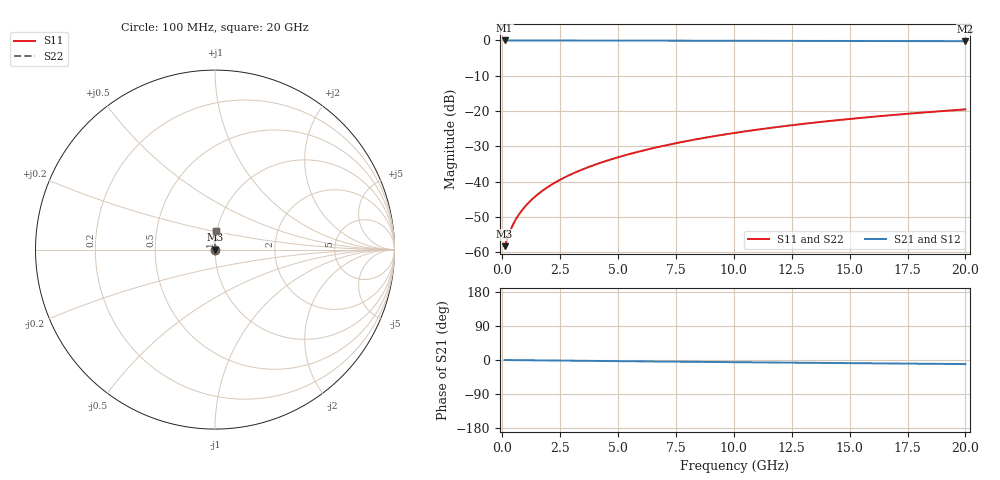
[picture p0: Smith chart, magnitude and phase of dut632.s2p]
! Touchstone file exported from HFSS 2024.1.0
!  File:  C:/UserFiles/LocalFiles/RDL_TSV_Batchsim/temp_RDL_bottom_632_1779784537.aedt
!  Generated:  04:38:11 PM May 26, 2026
!  Design:  RDL_bottom
!  Project:  temp_RDL_bottom_632_1779784537
!  Setup:  Setup1
!  Solution:  Sweep
! Variables:
!  dtsv = 10.80580581um
!  hbump = 3um
!  htsv = 97.88um
!  ldown = 137.94um
!  lrdl = 100um
!  p = 40
!  p1 = 43.68um
!  rhole = 1um
!  t = 450um
!  tdown = 2.5um
!  trdl = 3.915915916um
!  wdown = 26.37um
!  wrdl = 20um
# GHz S MA R 50.000000
! Terminal data exported
! Port[1] = RDL1_T1
! Port[2] = RDL1_T2
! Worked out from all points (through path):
!   200 points, 100 MHz to 20 GHz, reference 50 ohm
!   highest |S21| = -0.01 dB at 100 MHz (marker M1); lowest = -0.2 dB at 20 GHz (marker M2)
!   group delay of S21, straight-line fit = 1.48 ps
!   lowest |S11| = -58.3 dB at 100 MHz (marker M3), VSWR 1.00, Z = 50.1 + j0.049 ohm
!   |S11| at or under -10 dB: start of sweep to end of sweep
!   |S22| runs from -58.3 to -19.5 dB; largest |S21 - S12| = 2.3e-15
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0.1  0.001215 23.7  0.9989 -0.1  0.9989 -0.1  0.001215 23.7
! Gamma 0 0 0 0
! Port Impedance 50 0 50 0
0.3  0.00185 49.8  0.9988 -0.2  0.9988 -0.2  0.00185 49.8
0.4  0.00222 56.1  0.9987 -0.3  0.9987 -0.3  0.00222 56.1
0.6  0.002969 64.1  0.9986 -0.4  0.9986 -0.4  0.002969 64.1
0.7  0.003344 66.9  0.9985 -0.4  0.9985 -0.4  0.003344 66.9
0.9  0.004104 71.3  0.9984 -0.6  0.9984 -0.6  0.004104 71.3
1.2  0.005268 75.8  0.9983 -0.8  0.9983 -0.8  0.005268 75.8
1.4  0.006061 78.1  0.9982 -0.9  0.9982 -0.9  0.006061 78.1
1.7  0.007273 80.7  0.998 -1.1  0.998 -1.1  0.007273 80.7
2.2  0.009347 83.9  0.9976 -1.4  0.9976 -1.4  0.009347 83.9
2.8  0.01192 86.4  0.9971 -1.7  0.9971 -1.7  0.01192 86.4
3.5  0.01503 88.5  0.9964 -2.1  0.9964 -2.1  0.01503 88.5
4.2  0.01827 90.0  0.9956 -2.6  0.9956 -2.6  0.01827 90.0
5  0.02211 91.1  0.9945 -3.0  0.9945 -3.0  0.02211 91.1
5.9  0.0266 91.9  0.9933 -3.5  0.9933 -3.5  0.0266 91.9
6.8  0.03125 92.3  0.992 -4.0  0.992 -4.0  0.03125 92.3
8.4  0.03984 92.4  0.9897 -4.9  0.9897 -4.9  0.03984 92.4
10.1  0.04927 91.9  0.9873 -5.8  0.9873 -5.8  0.04927 91.9
11.7  0.0583 91.1  0.9851 -6.6  0.9851 -6.6  0.0583 91.1
13.4  0.06798 90.0  0.9829 -7.5  0.9829 -7.5  0.06798 90.0
16.7  0.08677 87.8  0.9789 -9.1  0.9789 -9.1  0.08677 87.8
20  0.1054 85.5  0.9752 -10.8  0.9752 -10.8  0.1054 85.5
